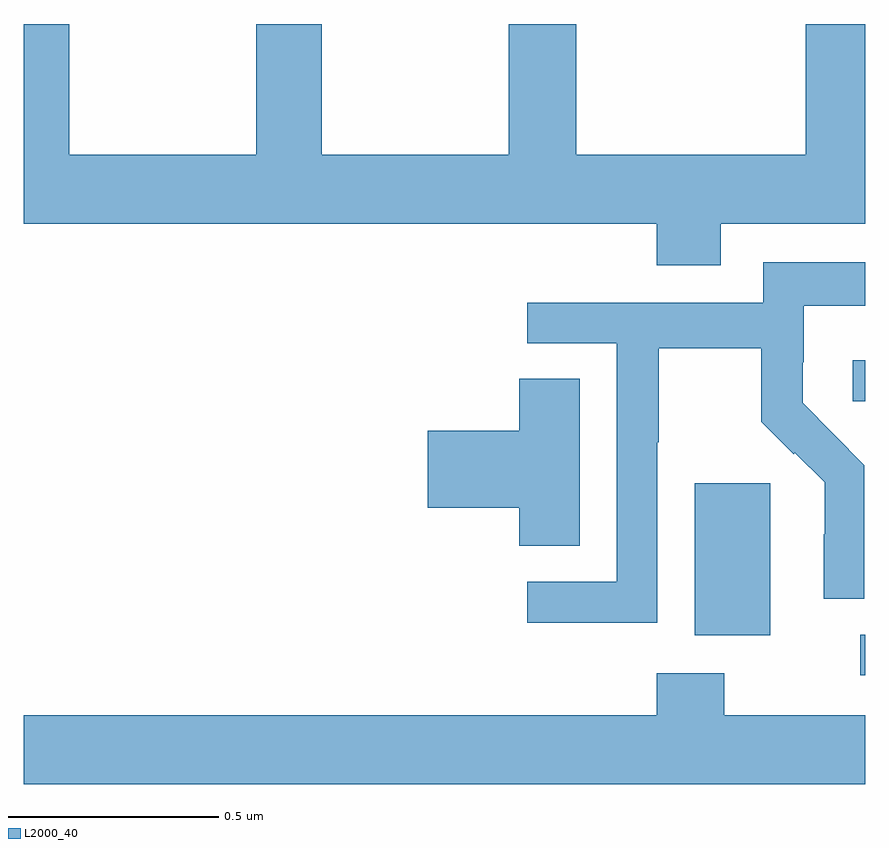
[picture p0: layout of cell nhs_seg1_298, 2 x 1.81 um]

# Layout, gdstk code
import gdstk
lib = gdstk.Library(unit=1e-6, precision=1e-09)
def R(c, l, rs):  # rectangles x0, y0, x1, y1
    for r in rs: c.add(gdstk.rectangle(r[:2], r[2:], *l))
def P(c, l, *ps):  # polygons
    for p in ps: c.add(gdstk.Polygon(p, *l))
L2000_40 = (2000, 40)

nhs_seg1_298 = lib.new_cell('nhs_seg1_298')
R(nhs_seg1_298, L2000_40, [(115.989,558.651,116,558.747), (115.595,558.746,115.774,559.107), (115.971,559.302,116,559.399)])
P(nhs_seg1_298, L2000_40, [(115.657,559.724),(116,559.724),(116,560.199),(115.859,560.199),(115.859,559.888),(115.313,559.888),(115.313,560.199),(115.153,560.199),(115.153,559.888),(114.708,559.888),(114.708,560.199),(114.553,560.199),(114.553,559.888),(114.108,559.888),(114.108,560.199),(114,560.199),(114,559.724),(115.505,559.724),(115.505,559.625),(115.657,559.625)],
  [(115.506,559.204),(115.509,559.204),(115.509,559.428),(115.753,559.428),(115.753,559.253),(115.83,559.176),(115.833,559.179),(115.904,559.109),(115.904,558.986),(115.902,558.986),(115.902,558.832),(115.998,558.832),(115.998,559.15),(115.925,559.223),(115.926,559.224),(115.852,559.298),(115.852,559.395),(115.854,559.395),(115.854,559.529),(116,559.529),(116,559.633),(115.758,559.633),(115.758,559.536),(115.197,559.536),(115.197,559.44),(115.41,559.44),(115.41,558.873),(115.197,558.873),(115.197,558.775),(115.506,558.775)],
  [(115.321,559.355),(115.178,559.355),(115.178,559.232),(114.96,559.232),(114.96,559.049),(115.178,559.049),(115.178,558.958),(115.321,558.958)],
  [(116,558.556),(115.665,558.556),(115.665,558.655),(115.505,558.655),(115.505,558.556),(114,558.556),(114,558.392),(116,558.392)])

lib.write_gds('nhs_seg1_298.gds')
